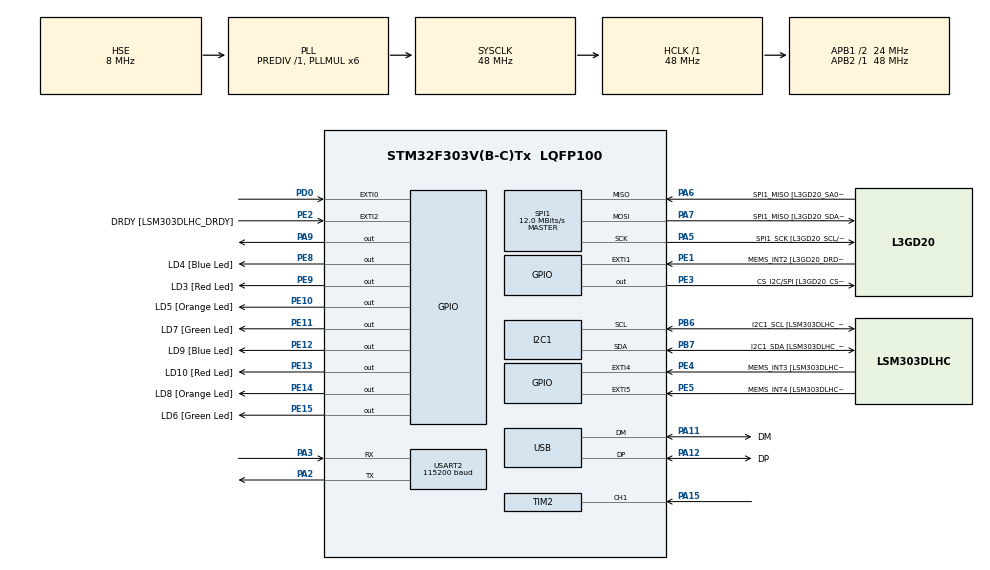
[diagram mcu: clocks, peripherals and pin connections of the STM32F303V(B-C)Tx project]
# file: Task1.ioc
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I2C1.Timing=0x2000090E
I2C1.Timing-I2C=0x2000090E
Mcu.Family=STM32F3
Mcu.Name=STM32F303V(B-C)Tx
Mcu.Package=LQFP100
NVIC.EXTI0_IRQn=true\:0\:0\:false\:false\:true\:true\:true\:true
NVIC.PriorityGroup=NVIC_PRIORITYGROUP_0
NVIC.TIM2_IRQn=true\:0\:0\:false\:false\:true\:true\:true\:true
PA11.GPIO_Label=DM
PA11.Mode=Device
PA11.Signal=USB_DM
PA12.GPIO_Label=DP
PA12.Mode=Device
PA12.Signal=USB_DP
PA13.GPIO_Label=SWDIO
PA13.Mode=Serial_Wire
PA13.Signal=SYS_JTMS-SWDIO
PA14.GPIO_Label=SWCLK
PA14.Mode=Serial_Wire
PA14.Signal=SYS_JTCK-SWCLK
PA15.Signal=S_TIM2_CH1_ETR
PA2.Mode=Asynchronous
PA2.Signal=USART2_TX
PA3.Mode=Asynchronous
PA3.Signal=USART2_RX
PA5.GPIO_Label=SPI1_SCK [L3GD20_SCL/SPC]
PA5.Mode=Full_Duplex_Master
PA5.Signal=SPI1_SCK
PA6.GPIO_Label=SPI1_MISO [L3GD20_SA0/SDO]
PA6.Mode=Full_Duplex_Master
PA6.Signal=SPI1_MISO
PA7.GPIO_Label=SPI1_MISO [L3GD20_SDA/SDI/SDO]
PA7.Mode=Full_Duplex_Master
PA7.Signal=SPI1_MOSI
PA9.Signal=GPIO_Output
PB3.GPIO_Label=SWO
PB3.Signal=SYS_JTDO-TRACESWO
PB6.GPIO_Label=I2C1_SCL [LSM303DLHC_SCL]
PB6.GPIO_Pu=GPIO_PULLUP
PB6.Mode=I2C
PB6.Signal=I2C1_SCL
PB7.GPIO_Label=I2C1_SDA [LSM303DLHC_SDA]
PB7.GPIO_Pu=GPIO_PULLUP
PB7.Mode=I2C
PB7.Signal=I2C1_SDA
PC14-OSC32_IN.GPIO_Label=OSC32_IN
PC14-OSC32_IN.Signal=RCC_OSC32_IN
PC15-OSC32_OUT.GPIO_Label=OSC32_OUT
PC15-OSC32_OUT.Signal=RCC_OSC32_OUT
PD0.GPIO_ModeDefaultEXTI=GPIO_MODE_IT_RISING
PD0.Signal=GPXTI0
PE1.GPIO_Label=MEMS_INT2 [L3GD20_DRDY/INT2]
PE1.GPIO_ModeDefaultEXTI=GPIO_MODE_EVT_RISING
PE1.Signal=GPXTI1
PE10.GPIO_Label=LD5 [Orange Led]
PE10.Signal=GPIO_Output
PE11.GPIO_Label=LD7 [Green Led]
PE11.Signal=GPIO_Output
PE12.GPIO_Label=LD9 [Blue Led]
PE12.Signal=GPIO_Output
PE13.GPIO_Label=LD10 [Red Led]
PE13.Signal=GPIO_Output
PE14.GPIO_Label=LD8 [Orange Led]
PE14.Signal=GPIO_Output
PE15.GPIO_Label=LD6 [Green Led]
PE15.Signal=GPIO_Output
PE2.GPIO_Label=DRDY [LSM303DLHC_DRDY]
PE2.GPIO_ModeDefaultEXTI=GPIO_MODE_EVT_RISING
PE2.Signal=GPXTI2
PE3.GPIO_Label=CS_I2C/SPI [L3GD20_CS_I2C/SPI]
PE3.Signal=GPIO_Output
PE4.GPIO_Label=MEMS_INT3 [LSM303DLHC_INT1]
PE4.GPIO_ModeDefaultEXTI=GPIO_MODE_EVT_RISING
PE4.Signal=GPXTI4
PE5.GPIO_Label=MEMS_INT4 [LSM303DLHC_INT2]
PE5.GPIO_ModeDefaultEXTI=GPIO_MODE_EVT_RISING
PE5.Signal=GPXTI5
PE8.GPIO_Label=LD4 [Blue Led]
PE8.Signal=GPIO_Output
PE9.GPIO_Label=LD3 [Red Led]
PE9.Signal=GPIO_Output
PF0-OSC_IN.GPIO_Label=OSC_IN
PF0-OSC_IN.Mode=HSE-External-Clock-Source
PF0-OSC_IN.Signal=RCC_OSC_IN
PF1-OSC_OUT.GPIO_Label=OSC_OUT
PF1-OSC_OUT.Signal=RCC_OSC_OUT
ProjectManager.HeapSize=0x200
ProjectManager.StackSize=0x400
ProjectManager.TargetToolchain=CMake
RCC.AHBFreq_Value=48000000
RCC.APB1CLKDivider=RCC_HCLK_DIV2
RCC.APB1Freq_Value=24000000
RCC.APB1TimFreq_Value=48000000
RCC.APB2Freq_Value=48000000
RCC.APB2TimFreq_Value=48000000
RCC.CortexFreq_Value=48000000
RCC.HCLKFreq_Value=48000000
RCC.HSE_VALUE=8000000
RCC.HSI_VALUE=8000000
RCC.LSE_VALUE=32768
RCC.PLLMUL=RCC_PLL_MUL6
RCC.SYSCLKFreq_VALUE=48000000
RCC.SYSCLKSourceVirtual=RCC_SYSCLKSOURCE_PLLCLK
RCC.USBFreq_Value=48000000
SH.S_TIM2_CH1_ETR.0=TIM2_CH1,Input_Capture1_from_TI1
SPI1.BaudRatePrescaler=SPI_BAUDRATEPRESCALER_4
SPI1.BaudRatePrescaler-Full_Duplex_Master=SPI_BAUDRATEPRESCALER_2
SPI1.CalculateBaudRate=12.0 MBits/s
SPI1.CalculateBaudRate-Full_Duplex_Master=24.0 MBits/s
SPI1.Direction=SPI_DIRECTION_2LINES
SPI1.Mode=SPI_MODE_MASTER
SPI1.Mode-Full_Duplex_Master=SPI_MODE_MASTER
SPI1.VirtualType=VM_MASTER
TIM2.Channel-Input_Capture1_from_TI1=TIM_CHANNEL_1
TIM2.Prescaler=9
USART2.BaudRate=115200
USART2.VirtualMode-Asynchronous=VM_ASYNC
VP_TIM2_VS_ClockSourceINT.Mode=Internal
board=STM32F3DISCOVERY

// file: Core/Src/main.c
/* USER CODE BEGIN Header */
/**
  ******************************************************************************
  * @file           : main.c
  * @brief          : Main program body
  ******************************************************************************
  * @attention
  *
  * Copyright (c) 2026 STMicroelectronics.
  * All rights reserved.
  *
  * This software is licensed under terms that can be found in the LICENSE file
  * in the root directory of this software component.
  * If no LICENSE file comes with this software, it is provided AS-IS.
  *
  ******************************************************************************
  */
/* USER CODE END Header */
#include "main.h"
#include "stm32f3xx_hal.h"

/* USER CODE BEGIN Includes */
#include <stdio.h>
#include <string.h>
#include <stdint.h>
#include <stdarg.h>  /* Required for va_list in the cout function */
/* USER CODE END Includes */

/* USER CODE BEGIN PD */
#define SAMPLE_SIZE 10

volatile uint32_t capture[SAMPLE_SIZE];
volatile uint8_t idx = 0;
volatile uint8_t first_edge = 0;
volatile uint8_t print_flag = 0; // Crucial for while(1) loop visibility
/* USER CODE END PD */

I2C_HandleTypeDef hi2c1;

SPI_HandleTypeDef hspi1;

TIM_HandleTypeDef htim2;

UART_HandleTypeDef huart2;

PCD_HandleTypeDef hpcd_USB_FS;

void SystemClock_Config(void);
static void MX_GPIO_Init(void);
static void MX_I2C1_Init(void);
static void MX_SPI1_Init(void);
static void MX_TIM2_Init(void);
static void MX_USB_PCD_Init(void);
static void MX_USART2_UART_Init(void);

/* USER CODE BEGIN 0 */

/* Custom cout function for USART2 transmission */
void cout(const char *fmt, ...) {
    char buffer[128];
    va_list args;
    va_start(args, fmt);
    int l = vsnprintf(buffer, sizeof(buffer), fmt, args);
    va_end(args);
    if (l > 0) {
        HAL_UART_Transmit(&huart2, (uint8_t*)buffer, l, HAL_MAX_DELAY);
    }
}

/* USER CODE END 0 */

int main(void)
{

  /* MCU Configuration--------------------------------------------------------*/

  /* Reset of all peripherals, Initializes the Flash interface and the Systick. */
  HAL_Init();

  /* Configure the system clock */
  SystemClock_Config();

  /* Initialize all configured peripherals */
  MX_GPIO_Init();
  MX_I2C1_Init();
  MX_SPI1_Init();
  MX_TIM2_Init();
  MX_USB_PCD_Init();
  MX_USART2_UART_Init();

  /* Infinite loop */
  /* USER CODE BEGIN WHILE */
  while (1)
  {
    HAL_Delay(100);
    if (print_flag)
    {
        uint32_t sum = 0;

        for (int i = 0; i < SAMPLE_SIZE; i++)
        {
            sum += capture[i];
        }

        uint32_t avg = sum / SAMPLE_SIZE-1;

        float freq = (4.84e6) / (avg);

        /* Using the custom cout function instead of printf */
        cout("Frequency: %d Hz \r\n", (int)freq);

        print_flag = 0;
    }
    // HAL_Delay(100);
    /* USER CODE END WHILE */

  }
}

void SystemClock_Config(void)
{
  RCC_OscInitTypeDef RCC_OscInitStruct = {0};
  RCC_ClkInitTypeDef RCC_ClkInitStruct = {0};
  RCC_PeriphCLKInitTypeDef PeriphClkInit = {0};

  /** Initializes the RCC Oscillators according to the specified parameters
  * in the RCC_OscInitTypeDef structure.
  */
  RCC_OscInitStruct.OscillatorType = RCC_OSCILLATORTYPE_HSI|RCC_OSCILLATORTYPE_HSE;
  RCC_OscInitStruct.HSEState = RCC_HSE_BYPASS;
  RCC_OscInitStruct.HSEPredivValue = RCC_HSE_PREDIV_DIV1;
  RCC_OscInitStruct.HSIState = RCC_HSI_ON;
  RCC_OscInitStruct.HSICalibrationValue = RCC_HSICALIBRATION_DEFAULT;
  RCC_OscInitStruct.PLL.PLLState = RCC_PLL_ON;
  RCC_OscInitStruct.PLL.PLLSource = RCC_PLLSOURCE_HSE;
  RCC_OscInitStruct.PLL.PLLMUL = RCC_PLL_MUL6;
  if (HAL_RCC_OscConfig(&RCC_OscInitStruct) != HAL_OK)
  {
    Error_Handler();
  }

  /** Initializes the CPU, AHB and APB buses clocks
  */
  RCC_ClkInitStruct.ClockType = RCC_CLOCKTYPE_HCLK|RCC_CLOCKTYPE_SYSCLK
                              |RCC_CLOCKTYPE_PCLK1|RCC_CLOCKTYPE_PCLK2;
  RCC_ClkInitStruct.SYSCLKSource = RCC_SYSCLKSOURCE_PLLCLK;
  RCC_ClkInitStruct.AHBCLKDivider = RCC_SYSCLK_DIV1;
  RCC_ClkInitStruct.APB1CLKDivider = RCC_HCLK_DIV2;
  RCC_ClkInitStruct.APB2CLKDivider = RCC_HCLK_DIV1;

  if (HAL_RCC_ClockConfig(&RCC_ClkInitStruct, FLASH_LATENCY_1) != HAL_OK)
  {
    Error_Handler();
  }
  PeriphClkInit.PeriphClockSelection = RCC_PERIPHCLK_USB|RCC_PERIPHCLK_USART2
                              |RCC_PERIPHCLK_I2C1;
  PeriphClkInit.Usart2ClockSelection = RCC_USART2CLKSOURCE_PCLK1;
  PeriphClkInit.I2c1ClockSelection = RCC_I2C1CLKSOURCE_HSI;
  PeriphClkInit.USBClockSelection = RCC_USBCLKSOURCE_PLL;
  if (HAL_RCCEx_PeriphCLKConfig(&PeriphClkInit) != HAL_OK)
  {
    Error_Handler();
  }
}

static void MX_I2C1_Init(void)
{

  hi2c1.Instance = I2C1;
  hi2c1.Init.Timing = 0x2000090E;
  hi2c1.Init.OwnAddress1 = 0;
  hi2c1.Init.AddressingMode = I2C_ADDRESSINGMODE_7BIT;
  hi2c1.Init.DualAddressMode = I2C_DUALADDRESS_DISABLE;
  hi2c1.Init.OwnAddress2 = 0;
  hi2c1.Init.OwnAddress2Masks = I2C_OA2_NOMASK;
  hi2c1.Init.GeneralCallMode = I2C_GENERALCALL_DISABLE;
  hi2c1.Init.NoStretchMode = I2C_NOSTRETCH_DISABLE;
  if (HAL_I2C_Init(&hi2c1) != HAL_OK)
  {
    Error_Handler();
  }

  /** Configure Analogue filter
  */
  if (HAL_I2CEx_ConfigAnalogFilter(&hi2c1, I2C_ANALOGFILTER_ENABLE) != HAL_OK)
  {
    Error_Handler();
  }

  /** Configure Digital filter
  */
  if (HAL_I2CEx_ConfigDigitalFilter(&hi2c1, 0) != HAL_OK)
  {
    Error_Handler();
  }

}

static void MX_SPI1_Init(void)
{

  /* SPI1 parameter configuration*/
  hspi1.Instance = SPI1;
  hspi1.Init.Mode = SPI_MODE_MASTER;
  hspi1.Init.Direction = SPI_DIRECTION_2LINES;
  hspi1.Init.DataSize = SPI_DATASIZE_4BIT;
  hspi1.Init.CLKPolarity = SPI_POLARITY_LOW;
  hspi1.Init.CLKPhase = SPI_PHASE_1EDGE;
  hspi1.Init.NSS = SPI_NSS_SOFT;
  hspi1.Init.BaudRatePrescaler = SPI_BAUDRATEPRESCALER_4;
  hspi1.Init.FirstBit = SPI_FIRSTBIT_MSB;
  hspi1.Init.TIMode = SPI_TIMODE_DISABLE;
  hspi1.Init.CRCCalculation = SPI_CRCCALCULATION_DISABLE;
  hspi1.Init.CRCPolynomial = 7;
  hspi1.Init.CRCLength = SPI_CRC_LENGTH_DATASIZE;
  hspi1.Init.NSSPMode = SPI_NSS_PULSE_ENABLE;
  if (HAL_SPI_Init(&hspi1) != HAL_OK)
  {
    Error_Handler();
  }

}

static void MX_TIM2_Init(void)
{

  TIM_ClockConfigTypeDef sClockSourceConfig = {0};
  TIM_MasterConfigTypeDef sMasterConfig = {0};
  TIM_IC_InitTypeDef sConfigIC = {0};

  htim2.Instance = TIM2;
  htim2.Init.Prescaler = 9;
  htim2.Init.CounterMode = TIM_COUNTERMODE_UP;
  htim2.Init.Period = 4294967295;
  htim2.Init.ClockDivision = TIM_CLOCKDIVISION_DIV1;
  htim2.Init.AutoReloadPreload = TIM_AUTORELOAD_PRELOAD_DISABLE;
  if (HAL_TIM_Base_Init(&htim2) != HAL_OK)
  {
    Error_Handler();
  }
  sClockSourceConfig.ClockSource = TIM_CLOCKSOURCE_INTERNAL;
  if (HAL_TIM_ConfigClockSource(&htim2, &sClockSourceConfig) != HAL_OK)
  {
    Error_Handler();
  }
  if (HAL_TIM_IC_Init(&htim2) != HAL_OK)
  {
    Error_Handler();
  }
  sMasterConfig.MasterOutputTrigger = TIM_TRGO_RESET;
  sMasterConfig.MasterSlaveMode = TIM_MASTERSLAVEMODE_DISABLE;
  if (HAL_TIMEx_MasterConfigSynchronization(&htim2, &sMasterConfig) != HAL_OK)
  {
    Error_Handler();
  }
  sConfigIC.ICPolarity = TIM_INPUTCHANNELPOLARITY_RISING;
  sConfigIC.ICSelection = TIM_ICSELECTION_DIRECTTI;
  sConfigIC.ICPrescaler = TIM_ICPSC_DIV1;
  sConfigIC.ICFilter = 0;
  if (HAL_TIM_IC_ConfigChannel(&htim2, &sConfigIC, TIM_CHANNEL_1) != HAL_OK)
  {
    Error_Handler();
  }

}

static void MX_USART2_UART_Init(void)
{

  huart2.Instance = USART2;
  huart2.Init.BaudRate = 115200;
  huart2.Init.WordLength = UART_WORDLENGTH_8B;
  huart2.Init.StopBits = UART_STOPBITS_1;
  huart2.Init.Parity = UART_PARITY_NONE;
  huart2.Init.Mode = UART_MODE_TX_RX;
  huart2.Init.HwFlowCtl = UART_HWCONTROL_NONE;
  huart2.Init.OverSampling = UART_OVERSAMPLING_16;
  huart2.Init.OneBitSampling = UART_ONE_BIT_SAMPLE_DISABLE;
  huart2.AdvancedInit.AdvFeatureInit = UART_ADVFEATURE_NO_INIT;
  if (HAL_UART_Init(&huart2) != HAL_OK)
  {
    Error_Handler();
  }

}

static void MX_USB_PCD_Init(void)
{

  hpcd_USB_FS.Instance = USB;
  hpcd_USB_FS.Init.dev_endpoints = 8;
  hpcd_USB_FS.Init.speed = PCD_SPEED_FULL;
  hpcd_USB_FS.Init.phy_itface = PCD_PHY_EMBEDDED;
  hpcd_USB_FS.Init.low_power_enable = DISABLE;
  hpcd_USB_FS.Init.battery_charging_enable = DISABLE;
  if (HAL_PCD_Init(&hpcd_USB_FS) != HAL_OK)
  {
    Error_Handler();
  }

}

static void MX_GPIO_Init(void)
{
  GPIO_InitTypeDef GPIO_InitStruct = {0};

  /* GPIO Ports Clock Enable */
  __HAL_RCC_GPIOE_CLK_ENABLE();
  __HAL_RCC_GPIOC_CLK_ENABLE();
  __HAL_RCC_GPIOF_CLK_ENABLE();
  __HAL_RCC_GPIOA_CLK_ENABLE();
  __HAL_RCC_GPIOD_CLK_ENABLE();
  __HAL_RCC_GPIOB_CLK_ENABLE();

  /*Configure GPIO pin Output Level */
  HAL_GPIO_WritePin(GPIOE, CS_I2C_SPI_Pin|LD4_Pin|LD3_Pin|LD5_Pin
                          |LD7_Pin|LD9_Pin|LD10_Pin|LD8_Pin
                          |LD6_Pin, GPIO_PIN_RESET);

  /*Configure GPIO pin Output Level */
  HAL_GPIO_WritePin(GPIOA, GPIO_PIN_9, GPIO_PIN_RESET);

  /*Configure GPIO pins : DRDY_Pin MEMS_INT3_Pin MEMS_INT4_Pin MEMS_INT2_Pin */
  GPIO_InitStruct.Pin = DRDY_Pin|MEMS_INT3_Pin|MEMS_INT4_Pin|MEMS_INT2_Pin;
  GPIO_InitStruct.Mode = GPIO_MODE_EVT_RISING;
  GPIO_InitStruct.Pull = GPIO_NOPULL;
  HAL_GPIO_Init(GPIOE, &GPIO_InitStruct);

  /*Configure GPIO pins : CS_I2C_SPI_Pin LD4_Pin LD3_Pin LD5_Pin
                           LD7_Pin LD9_Pin LD10_Pin LD8_Pin
                           LD6_Pin */
  GPIO_InitStruct.Pin = CS_I2C_SPI_Pin|LD4_Pin|LD3_Pin|LD5_Pin
                          |LD7_Pin|LD9_Pin|LD10_Pin|LD8_Pin
                          |LD6_Pin;
  GPIO_InitStruct.Mode = GPIO_MODE_OUTPUT_PP;
  GPIO_InitStruct.Pull = GPIO_NOPULL;
  GPIO_InitStruct.Speed = GPIO_SPEED_FREQ_LOW;
  HAL_GPIO_Init(GPIOE, &GPIO_InitStruct);

  /*Configure GPIO pin : PA9 */
  GPIO_InitStruct.Pin = GPIO_PIN_9;
  GPIO_InitStruct.Mode = GPIO_MODE_OUTPUT_PP;
  GPIO_InitStruct.Pull = GPIO_NOPULL;
  GPIO_InitStruct.Speed = GPIO_SPEED_FREQ_LOW;
  HAL_GPIO_Init(GPIOA, &GPIO_InitStruct);

  /*Configure GPIO pin : PD0 */
  GPIO_InitStruct.Pin = GPIO_PIN_0;
  GPIO_InitStruct.Mode = GPIO_MODE_IT_RISING;
  GPIO_InitStruct.Pull = GPIO_NOPULL;
  HAL_GPIO_Init(GPIOD, &GPIO_InitStruct);

  /* EXTI interrupt init*/
  HAL_NVIC_SetPriority(EXTI0_IRQn, 0, 0);
  HAL_NVIC_EnableIRQ(EXTI0_IRQn);

  /* USER CODE BEGIN MX_GPIO_Init_2 */
  HAL_NVIC_SetPriority(EXTI0_IRQn, 0, 0);
  HAL_NVIC_EnableIRQ(EXTI0_IRQn);
  /* USER CODE END MX_GPIO_Init_2 */
}

/* USER CODE BEGIN 4 */
void HAL_GPIO_EXTI_Callback(uint16_t GPIO_Pin)
{
  HAL_GPIO_WritePin(GPIOA, GPIO_PIN_9,  GPIO_PIN_SET);
    if (GPIO_Pin == GPIO_PIN_0)   // PD0 interrupt
    {
        if (first_edge == 0)
        {
            // First edge → start timer
            __HAL_TIM_SET_COUNTER(&htim2, 0);
            HAL_TIM_Base_Start(&htim2);
            first_edge = 1;
        }
        else
        {
            // Next edge → capture time
            capture[idx] = __HAL_TIM_GET_COUNTER(&htim2);

            idx++;
            first_edge = 0;
            // Reset timer for next measurement
            __HAL_TIM_SET_COUNTER(&htim2, 0);

            if (idx >= SAMPLE_SIZE)
            {
                idx = 0;
                print_flag = 1;
            }
        }
    }
}
/* USER CODE END 4 */

void Error_Handler(void)
{
  __disable_irq();
  while (1)
  {
  }
}
